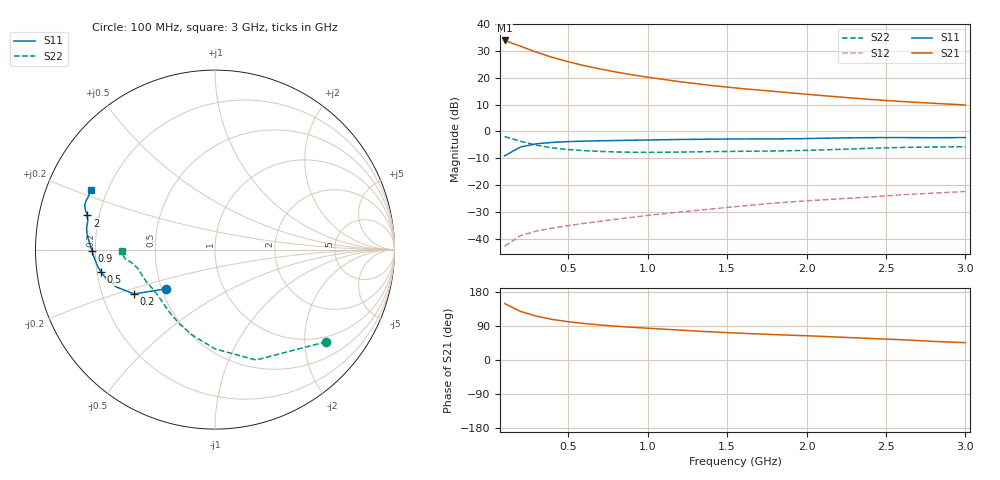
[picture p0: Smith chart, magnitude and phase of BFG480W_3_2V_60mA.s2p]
! Filename: 3_260BFG480.001
! Title: BFG480W
! Bias: Vce=3.2V; Ic=60mA
! Company: Philips Semiconductors NL
! User: Quality&Reliability T&D
! Measure time: 10 Nov 1999 / 11:57:10
#  MHz  S  MA  R 50
! Freq  S11  S21  S12  S22  :
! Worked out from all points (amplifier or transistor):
!   20 points, 100 MHz to 3 GHz, reference 50 ohm
!   highest |S21| = 33.9 dB at 100 MHz (marker M1)
!   |S21| within 3 dB of that: start of sweep to 238 MHz
!   unconditionally stable (mu >= 1): 881.4 MHz to end of sweep
!   at 400 MHz: K = 0.70, MSG = 31.8 dB, |S12| = -36.0 dB
!   at 1.2 GHz: K = 1.06, MAG = 22.8 dB, |S12| = -30.0 dB
!   at 3 GHz: K = 1.06, MAG = 14.6 dB, |S12| = -22.4 dB
!   S11 on the Smith chart (normalised r, x): 100 MHz: 0.52, -0.26; 200 MHz: 0.34, -0.23; 500 MHz: 0.22, -0.09; 900 MHz: 0.19, -0.00; 2 GHz: 0.15, +0.13; 3 GHz: 0.14, +0.22
100  0.3516 -141.5  49.81 148.9  0.007262 68.9  0.8045 -39.7
200  0.5144 -151.3  38.82 128.2  0.01143 58.2  0.6563 -69.6
300  0.5883 -159.3  30.15 115.6  0.01388 55.2  0.5538 -89.8
400  0.6256 -164.8  24.14 107.2  0.01577 55.4  0.4951 -104.2
500  0.6473 -168.9  19.98 101.0  0.01757 56.8  0.4604 -114.8
600  0.661 -172.2  16.92 96.3  0.01931 58.6  0.4389 -122.8
700  0.6701 -174.9  14.64 92.5  0.02111 60.7  0.4246 -129.1
800  0.6778 -177.3  12.86 89.3  0.02307 62.8  0.4152 -134.3
900  0.6864 -179.5  11.43 86.5  0.02499 64.7  0.4098 -138.8
1000  0.6935 178.5  10.29 83.9  0.02718 66.2  0.4079 -142.9
1200  0.7087 175.1  8.497 79.0  0.03146 68.4  0.4124 -149.4
1400  0.7199 172.6  7.198 74.2  0.03578 70.1  0.4212 -154.4
1600  0.7258 170.1  6.28 70.3  0.04085 71.4  0.4267 -158.1
1800  0.7264 167.4  5.585 67.0  0.04629 72.4  0.4333 -162.0
2000  0.7368 165.0  4.944 64.0  0.05091 73.4  0.4436 -166.4
2200  0.7571 162.8  4.414 60.5  0.05527 73.6  0.4622 -170.2
2400  0.7677 161.0  3.956 56.8  0.06008 73.4  0.486 -172.7
2600  0.7683 159.2  3.618 53.5  0.06607 72.9  0.5043 -174.3
2800  0.7645 157.0  3.356 49.1  0.07076 71.7  0.5127 -176.2
3000  0.7695 154.3  3.116 45.7  0.07607 71.1  0.5201 -179.2
